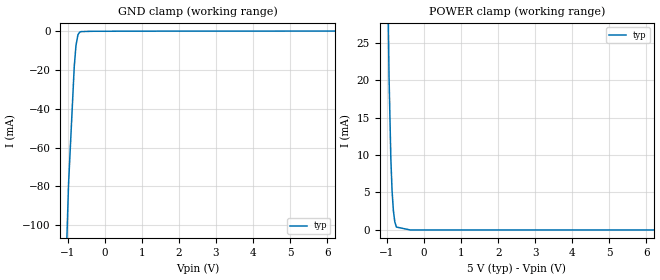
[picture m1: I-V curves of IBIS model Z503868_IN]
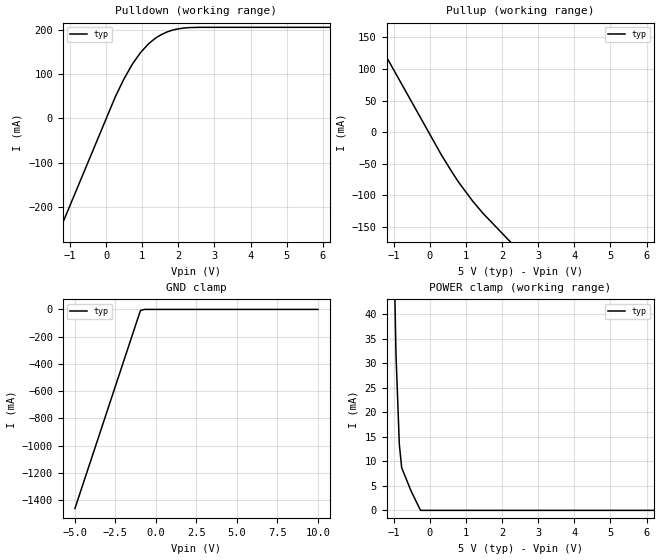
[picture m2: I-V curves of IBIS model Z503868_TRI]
| YOU ARE ONLY AUTHORIZED TO USE THIS SOFTWARE
| ACCORDING TO LICENSOR'S LICENSE RESTRICTIONS.
[IBIS Ver] 3.1
[File Name] mc74act540n.ibs
[File Rev] 2.0
[Source] Measured and created by ICX Technology
[Date] Friday 7/14/00 9:08:02 AM
[Copyright]
| (C) COPYRIGHT 1993-2000
| MENTOR GRAPHICS CORPORATION
| ICX STANDARD LIBRARY, ICX PROJECT MODELING,
| ICX CUSTOM MODELING, ICX VENDOR MODEL
| ALL RIGHTS RESERVED.
| THE FOLLOWING ARE TRADEMARKS OR SERVICE MARKS OF
| MENTOR GRAPHICS CORPORATION:ICX (R), ICX STANDARD
| LIBRARY(R), ICX PROJECT MODELING(R), ICX CUSTOM
| MODELING(R), qualityIBIS(TM), MODELVIEWER(TM),
| AND MODELEDITOR(TM)
| ALL COPIES OF SOFTWARE, INCLUDING BUT NOT LIMITED TO
| ANY MODIFICATIONS, ENHANCEMENTS OR DERIVATIVE WORKS,
| MUST CONTAIN ALL MENTOR GRAPHICS CORPORATION'S
| NOTICES AND LEGENDS, INCLUDING THOSE EMBEDDED IN
| SOFTWARE AND THOSE AFFIXED TO SOFTWARE MEDIUM
| AND CONTAINER, AS RECEIVED FROM MENTOR GRAPHICS
| CORPORATION.
|  ZAP Model Builder 2.7
[Component] MC74ACT540N
[Manufacturer] OnSemiconductor
[Package]
| variable   typ   min   max
R_pkg  .216ohms NA NA
L_pkg  5.76nH NA NA
C_pkg  1.29pF NA NA
[Pin] signal_name  model_name  R_pin  L_pin C_pin
1 _G1 Z503868_IN .232 9.76n 1.87p
2 A0 Z503868_IN .224 7.26n 1.58p
3 A1 Z503868_IN .216 5.26n 1.29p
4 A2 Z503868_IN .208 3.76n 1.0p
5 A3 Z503868_IN .2 2.76n .71p
6 A4 Z503868_IN .2 2.76n .71p
7 A5 Z503868_IN .208 3.76n 1.0p
8 A6 Z503868_IN .216 5.26n 1.29p
9 A7 Z503868_IN .224 7.26n 1.58p
10 GND GND .232 9.76n 1.87p
11 _Y7 Z503868_TRI .232 9.76n 1.87p
12 _Y6 Z503868_TRI .224 7.26n 1.58p
13 _Y5 Z503868_TRI .216 5.26n 1.29p
14 _Y4 Z503868_TRI .208 3.76n 1.0p
15 _Y3 Z503868_TRI .2 2.76n .71p
16 _Y2 Z503868_TRI .2 2.76n .71p
17 _Y1 Z503868_TRI .208 3.76n 1.0p
18 _Y0 Z503868_TRI .216 5.26n 1.29p
19 _G2 Z503868_IN .224 7.26n 1.58p
20 VCC POWER .232 9.76n 1.87p
| Models and submodels in the file (2): Z503868_IN (Input), Z503868_TRI (3-state)
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| (C) COPYRIGHT 1993-2000
| MENTOR GRAPHICS CORPORATION
| ICX STANDARD LIBRARY, ICX PROJECT MODELING,
| ICX CUSTOM MODELING, ICX VENDOR MODEL
| ALL RIGHTS RESERVED.
| THE FOLLOWING ARE TRADEMARKS OR SERVICE MARKS OF
| MENTOR GRAPHICS CORPORATION:ICX (R), ICX STANDARD
| LIBRARY(R), ICX PROJECT MODELING(R), ICX CUSTOM
| MODELING(R), qualityIBIS(TM), MODELVIEWER(TM),
| AND MODELEDITOR(TM)
| ALL COPIES OF SOFTWARE, INCLUDING BUT NOT LIMITED TO
| ANY MODIFICATIONS, ENHANCEMENTS OR DERIVATIVE WORKS,
| MUST CONTAIN ALL MENTOR GRAPHICS CORPORATION'S
| NOTICES AND LEGENDS, INCLUDING THOSE EMBEDDED IN
| SOFTWARE AND THOSE AFFIXED TO SOFTWARE MEDIUM
| AND CONTAINER, AS RECEIVED FROM MENTOR GRAPHICS
| CORPORATION.
| Model Application Version 1.89 2/18/99.
[Model] Z503868_IN
Model_type Input
Vinl = 800.0mV
Vinh = 2.000V
C_comp 4.000pF NA NA
| variable typ   min   max
[Voltage Range] 5.000V NA NA
[GND Clamp Reference] 0.000V NA NA
[POWER Clamp Reference] 5.000V NA NA
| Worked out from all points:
|   GND clamp passes 1 mA (typ) near -0.70 V on its own axis
|   POWER clamp passes 1 mA (typ) near -0.79 V on its own axis
[GND Clamp]
-5V       -3.427A    NA         NA
-1.055V   -124.7mA   NA         NA
-981.4mV  -78.94mA   NA         NA
-827.2mV  -18.15mA   NA         NA
-781mV    -7.286mA   NA         NA
-727.6mV  -1.732mA   NA         NA
-684.1mV  -490.8uA   NA         NA
-645.1mV  -107.8uA   NA         NA
10V       165.3uA    NA         NA
[POWER Clamp]
-5V       3.364A     NA         NA
-1.104V   100mA      NA         NA
-1.005V   42.72mA    NA         NA
-946mV    20.41mA    NA         NA
-898mV    9.607mA    NA         NA
-864mV    5.173mA    NA         NA
-828mV    2.554mA    NA         NA
-791mV    1.093mA    NA         NA
-747mV    388.9uA    NA         NA
-373.5mV  0A         NA         NA
10V       0A         NA         NA
| (C) COPYRIGHT 1993-2000
| MENTOR GRAPHICS CORPORATION
| ICX STANDARD LIBRARY, ICX PROJECT MODELING,
| ICX CUSTOM MODELING, ICX VENDOR MODEL
| ALL RIGHTS RESERVED.
| THE FOLLOWING ARE TRADEMARKS OR SERVICE MARKS OF
| MENTOR GRAPHICS CORPORATION:ICX (R), ICX STANDARD
| LIBRARY(R), ICX PROJECT MODELING(R), ICX CUSTOM
| MODELING(R), qualityIBIS(TM), MODELVIEWER(TM),
| AND MODELEDITOR(TM)
| ALL COPIES OF SOFTWARE, INCLUDING BUT NOT LIMITED TO
| ANY MODIFICATIONS, ENHANCEMENTS OR DERIVATIVE WORKS,
| MUST CONTAIN ALL MENTOR GRAPHICS CORPORATION'S
| NOTICES AND LEGENDS, INCLUDING THOSE EMBEDDED IN
| SOFTWARE AND THOSE AFFIXED TO SOFTWARE MEDIUM
| AND CONTAINER, AS RECEIVED FROM MENTOR GRAPHICS
| CORPORATION.
| Model Application Version 1.89 2/18/99.
[Model] Z503868_TRI
Model_type 3-state
Vref=0.000V
Rref=500.0ohms
Cref=50.00pF
Vmeas=1.500V
C_comp 8.000pF NA NA
| variable typ   min   max
[Voltage Range] 5.000V NA NA
[POWER Clamp Reference] 5.000V NA NA
[Pullup Reference] 5.000V NA NA
[Pulldown Reference] 0.000V NA NA
[GND Clamp Reference] 0.000V NA NA
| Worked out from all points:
|   slope of the pulldown table from 0 to 0.75 V, typ, clamps not added: 5.96 ohm
|   slope of the pullup table from 0 to 0.75 V, typ, clamps not added: 10.5 ohm
|   GND clamp passes 1 mA (typ) near -0.74 V on its own axis
[GND Clamp]
-5V       -1.463A    NA         NA
-994.3mV  -22.2mA    NA         NA
-942.3mV  -7.443mA   NA         NA
-706.7mV  0A         NA         NA
10V       0A         NA         NA
[Pulldown]
-5V       -976.2mA   NA         NA
254mV     48.59mA    NA         NA
493.3mV   88.71mA    NA         NA
732.6mV   123mA      NA         NA
963.1mV   149.3mA    NA         NA
1.182V    168.5mA    NA         NA
1.367V    180.8mA    NA         NA
1.694V    194.9mA    NA         NA
2.143V    203.4mA    NA         NA
2.578V    205.1mA    NA         NA
10V       205.1mA    NA         NA
[Pullup]
-5V       506.1mA    NA         NA
308mV     -34.96mA   NA         NA
615mV     -63.5mA    NA         NA
796mV     -79.31mA   NA         NA
1.185V    -109.2mA   NA         NA
1.465V    -128.2mA   NA         NA
10V       -636.7mA   NA         NA
[POWER Clamp]
-5V       1.876A     NA         NA
-1.069V   81.39mA    NA         NA
-938mV    31.84mA    NA         NA
-845mV    13.4mA     NA         NA
-780mV    8.681mA    NA         NA
-517mV    3.901mA    NA         NA
-258.5mV  0A         NA         NA
10V       0A         NA         NA
[Ramp]
| variable typ min max
dV/dt_r 2.960/482.7p NA NA
dV/dt_f 2.960/340.0p NA NA
R_load = 500.0Ohms
